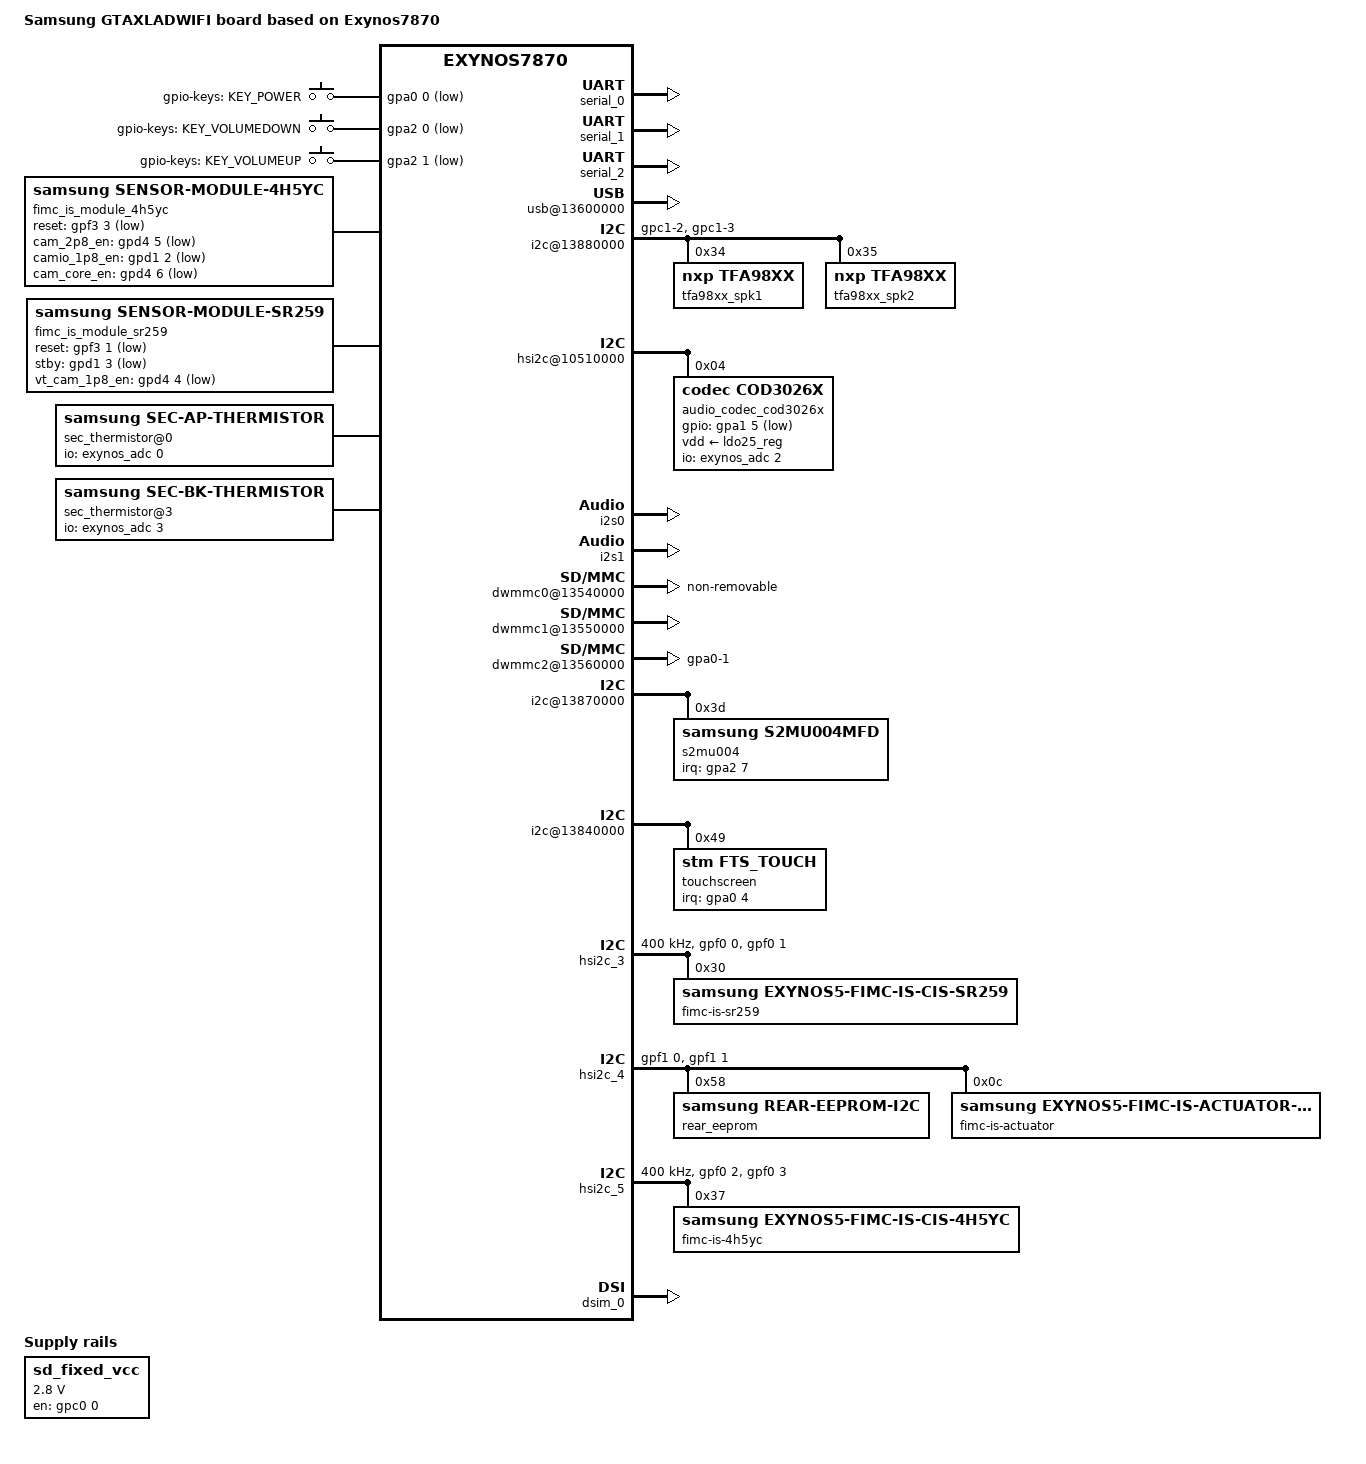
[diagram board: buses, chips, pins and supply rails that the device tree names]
/*
 * SAMSUNG UNIVERSAL8890 board device tree source
 *
 * Copyright (c) 2013 Samsung Electronics Co., Ltd.
 *		http://www.samsung.com
 *
 * This program is free software; you can redistribute it and/or modify
 * it under the terms of the GNU General Public License version 2 as
 * published by the Free Software Foundation.
 */

#include "exynos7870-rmem-3000MB.dtsi"
#include "exynos7870.dtsi"

/ {
	model = "Samsung GTAXLADWIFI board based on Exynos7870";
	compatible = "samsung,exynos7870", "samsung,universal7870";

	ect {
		parameter_address = <0x90000000>;
		parameter_size = <0x14000>;	/* u-boot always overwrites this value. */
	};

	memory@40000000 {
		device_type = "memory";
		reg = <0x0 0x40000000 0x3E400000>;
	};

	memory@80000000 {
		device_type = "memory";
		reg = <0x0 0x80000000 0x80000000>;
	};

	memory@100000000 {
		device_type = "memory";
		reg = <0x00000001 0x00000000 0x0>;
	};

	chosen {
		bootargs = "console=ram ess_setup=0x46000000 androidboot.hardware=samsungexynos7870 androidboot.selinux=disabled firmware_class.path=/vendor/firmware androidboot.debug_level=0x4948 reserve-fimc=0";
		linux,initrd-start = <0x42000000>;
		linux,initrd-end = <0x420FFFFF>;
	};

	fixed-rate-clocks {
		oscclk {
			compatible = "samsung,exynos7870-oscclk";
			clock-frequency = <26000000>;
		};
	};

	reserved-memory {
		#address-cells = <2>;
		#size-cells = <1>;
		ranges;

		mfc_fw {
			compatible = "exynos5433-ion,mfc_fw";
			secure;
			reg = <0x0 0xAE800000 0x200000>;
			id = <8>;
		};

		mfc_nfw {
			compatible = "exynos5433-ion,mfc_nfw";
			reg = <0x0 0xAE600000 0x200000>;
			id = <12>;
		};
	};

	serial_0: uart@13810000 {
		status = "okay";
	};

	serial_1: uart@13800000 {
		status = "okay";
	};

	serial_2: uart@13820000 {
		samsung,uart-logging;
		status = "okay";
	};

	usb@13600000 {
		status = "okay";

		dwc3 {
			maximum-speed = "high-speed";
			dr_mode = "otg";
			is_not_vbus_pad;
		};
	};

	pinctrl_1: pinctrl@148C0000 {
		compatible = "samsung,exynos7870-pinctrl";
		reg = <0x0 0x148C0000 0x1000>;
		interrupts = <0 68 0>;
	};

	pinctrl@139B0000 {
		spk_amp_i2c: spk-amp-i2c{
			samsung,pins ="gpc1-2", "gpc1-3";
			samsung,pin-function = <2>;
			samsung,pin-pud = <0>;
			samsung,pin-drv = <0>;
		};
	};

	pinctrl@139F0000 {
		cod3026_irq: cod3026-irq {
			samsung,pins = "gpa1-5";
			samsung,pin-pud = <3>;
			samsung,pin-drv = <3>;
		};
	};

	i2c@13880000 {
		samsung,i2c-sda-delay = <100>;
		samsung,i2c-max-bus-freq = <400000>;
		#address-cells = <1>;
		#size-cells = <0>;
		status = "okay";

		pinctrl-names = "default";
		pinctrl-0 = <&spk_amp_i2c>;

		tfa98xx_spk1: tfa98xx@34{
		    compatible = "nxp,tfa98xx";
		    reg = <0x34>;
		};
		tfa98xx_spk2: tfa98xx@35{
		    compatible = "nxp,tfa98xx";
		    reg = <0x35>;
		};
	};

	but_zones: but_zones {
		#list-but-cells = <3>;
	};

	hsi2c@10510000 {
		audio_codec_cod3026x: cod3026x@04 {
			compatible = "codec,cod3026x";
			reg = <0x04>;
			ten-bit-address;
			vdd-supply = <&ldo25_reg>;
			pinctrl-names = "default";
			pinctrl-0 = <&cod3026_irq>;
			interrupt-parent = <&gpa1>;
			gpios = <&gpa1 5 0xf>;
			mic-bias1-voltage = <1>;
			mic-bias2-voltage = <1>;
			mic-bias-ldo-voltage = <3>;
			use-det-adc-mode;
			io-channels = <&exynos_adc 2>;
			io-channel-names = "adc-jack";
			#io-channel-cells = <1>;
			io-channel-ranges;
			but-zones-list = <&but_zones 226 0 370>, /* send/end */
					<&but_zones 582 371 443>, /* google */
					<&but_zones 115 444 623>, /* vol up */
					<&but_zones 114 624 1300>; /* vol down */
			mic-adc-range = <1400>;
		};
	};

	s1402x: s1402x@14880000 {
		pinctrl-names = "default", "idle", "bt", "bt-idle";
		pinctrl-0 = <&i2s_pmic_amp_bus
			&i2s_amp_bus>;
		pinctrl-1 = <&i2s_pmic_amp_bus_idle
			&i2s_bt_bus_idle>;
		pinctrl-2 = <&i2s_pmic_bus
			&i2s_bt_bus>;
		pinctrl-3 = <&i2s_bt_bus_idle>;

		status = "okay";
	};

	i2s0: i2s@148A0000 {
		status = "okay";
	};

	i2s1: i2s@148B0000 {
		status = "okay";
	};

	audio_cp_dummy: cp_dummy {
			compatible = "samsung,cp_dummy";
			status = "okay";
	};

	audio_fm_dummy: fm_dummy {
			compatible = "samsung,fm_dummy";
			status = "okay";
	};

	audio_bt_dummy: bt_dummy {
			compatible = "samsung,bt_dummy";
			status = "okay";
	};

	audio_codec_dummy: dummy-codec {
			compatible = "samsung,dummy-codec";
			status = "okay";
	};

	sound {
		compatible = "samsung,universal7870-cod3026x";
		samsung,audio-cpu = <&i2s0      /* primary */
			&i2s0                    /* secondary */
			&audio_cp_dummy
			&audio_bt_dummy
			&audio_fm_dummy
			&i2s1			/*AMP for AP */
			&audio_cp_dummy		/*AMP for CP */
			&eax
			&eax
			&eax
			&eax>;
		samsung,audio-codec = <&audio_codec_cod3026x
			&audio_codec_cod3026x
			&audio_codec_cod3026x
			&audio_codec_dummy
			&audio_codec_cod3026x
			&audio_codec_dummy
			&audio_codec_dummy
			&audio_codec_cod3026x
			&audio_codec_cod3026x
			&audio_codec_cod3026x
			&audio_codec_cod3026x>;
		samsung,audio-amp-num = <2>;
		samsung,audio-amp = <&tfa98xx_spk1 &tfa98xx_spk2
			&tfa98xx_spk1 &tfa98xx_spk2
			&tfa98xx_spk1 &tfa98xx_spk2
			&audio_codec_dummy &audio_codec_dummy
			&tfa98xx_spk1 &tfa98xx_spk2
			&tfa98xx_spk1 &tfa98xx_spk2
			&audio_codec_dummy &audio_codec_dummy
			&tfa98xx_spk1 &tfa98xx_spk2
			&tfa98xx_spk1 &tfa98xx_spk2
			&tfa98xx_spk1 &tfa98xx_spk2
			&tfa98xx_spk1 &tfa98xx_spk2>;
		samsung,audio-amp-dai-name = "tfa98xx-aif-5-34", "tfa98xx-aif-5-35",
			"tfa98xx-aif-5-34", "tfa98xx-aif-5-35",
			"tfa98xx-aif-5-34", "tfa98xx-aif-5-35",
			"dummy-aif2", "dummy-aif2",
			"tfa98xx-aif-5-34", "tfa98xx-aif-5-35",
			"tfa98xx-aif-5-34", "tfa98xx-aif-5-35",
			"dummy-aif2", "dummy-aif2",
			"tfa98xx-aif-5-34", "tfa98xx-aif-5-35",
			"tfa98xx-aif-5-34", "tfa98xx-aif-5-35",
			"tfa98xx-aif-5-34", "tfa98xx-aif-5-35",
			"tfa98xx-aif-5-34", "tfa98xx-aif-5-35";
		mic-bias-mode = <1 1 2 0>;
		samsung,auxdev = <&s1402x>;
		status = "okay";
	};

	gpio_keys {
		compatible = "gpio-keys";
		pinctrl-names = "default";
		pinctrl-0 = <&key_power &key_voldown &key_volup>;
		#address-cells = <1>;
		#size-cells = <0>;

		button@1 {
			label = "gpio-keys: KEY_POWER";
			interrupts = <0 0 0>;
			interrupt-parent = <&gpa0>;
			linux,code = <116>;
			gpios = <&gpa0 0 0xf>;
			gpio-key,wakeup = <1>;
		};
		button@2 {
			label = "gpio-keys: KEY_VOLUMEDOWN";
			interrupts = <1 0 0>;
			interrupt-parent = <&gpa2>;
			linux,code = <114>;
			gpios = <&gpa2 0 0xf>;
		};
		button@3 {
			label = "gpio-keys: KEY_VOLUMEUP";
			interrupts = <0 0 0>;
			interrupt-parent = <&gpa2>;
			linux,code = <115>;
			gpios = <&gpa2 1 0xf>;
		};
	};

	firmware {
		android {
			compatible = "android,firmware";
			fstab {
				compatible = "android,fstab";
				system {
					compatible = "android,system";
					dev = "/dev/block/platform/13540000.dwmmc0/by-name/SYSTEM";
					type = "ext4";
					mnt_flags = "ro";
					fsmgr_flags = "wait,verify";
				};
				vendor {
					compatible = "android,vendor";
					dev = "/dev/block/platform/13540000.dwmmc0/by-name/VENDOR";
					type = "ext4";
					mnt_flags = "ro";
					fsmgr_flags = "wait,verify";
				};
				odm {
					compatible = "android,odm";
					dev = "/dev/block/platform/13540000.dwmmc0/by-name/ODM";
					type = "ext4";
					mnt_flags = "ro";
					fsmgr_flags = "wait,verify";
				};
			};
		};
	};

	dwmmc0@13540000 {
		status = "okay";
		num-slots = <1>;
		broken-cd;
		use-smu;
		fixed_voltage;
		clock-gate;
		supports-highspeed;
		mmc-ddr-1_8v;
		mmc-hs200-1_8v;
		mmc-hs400-1_8v;
		mmc-shutdown-poweroff;
		pm-skip-mmc-resume-init;
		supports-8bit;
		supports-cmd23;
		supports-erase;
		enable-ulp-mode;
		supports-hs400-enhanced-strobe;
		use-fine-tuning;
		bypass-for-allpass;
		card-init-hwacg-ctrl;
		fifo-depth = <0x40>;
		non-removable;
		desc-size = <4>;
		card-detect-delay = <200>;
		data-timeout = <200>;
		clock-frequency = <800000000>;
		samsung,dw-mshc-ciu-div = <3>;
		samsung,dw-mshc-txdt-crc-timer-fastlimit = <0x34>;
		samsung,dw-mshc-txdt-crc-timer-initval = <0x38>;
		samsung,dw-mshc-ddr200-delay-line = <0x60>;
		samsung,dw-mshc-sdr-timing = <3 0 4 0>;
		samsung,dw-mshc-ddr-timing = <3 0 4 2>;
		samsung,dw-mshc-hs200-timing = <3 0 3 0>;
		samsung,dw-mshc-ddr200-timing = <1 0 4 0>;
		samsung,dw-mshc-ddr200-ulp-timing = <3 0 3 0>;

		num-ref-clks = <12>;
		ciu_clkin = <25 50 50 25 50 100 200 50 50 200 200 200>;

		/* Swapping clock drive strength */
		clk-drive-number = <6>;
		pinctrl-names = "default",
			"fast-slew-rate-1x",
			"fast-slew-rate-2x",
			"fast-slew-rate-3x",
			"fast-slew-rate-4x",
			"fast-slew-rate-5x",
			"fast-slew-rate-6x";
		pinctrl-0 = <&sd0_clk &sd0_cmd &sd0_rdqs &sd0_bus1 &sd0_bus4 &sd0_bus8>;
		pinctrl-1 = <&sd0_clk_fast_slew_rate_1x>;
		pinctrl-2 = <&sd0_clk_fast_slew_rate_2x>;
		pinctrl-3 = <&sd0_clk_fast_slew_rate_3x>;
		pinctrl-4 = <&sd0_clk_fast_slew_rate_4x>;
		pinctrl-5 = <&sd0_clk_fast_slew_rate_5x>;
		pinctrl-6 = <&sd0_clk_fast_slew_rate_6x>;
		slot@0 {
			reg = <0>;
			bus-width = <8>;
		};
	};

	dwmmc1@13550000 {
		status = "okay";
		num-slots = <1>;
		channel = <1>;
		fixed_voltage;
		clock-gate;
		enable-cclk-on-suspend;
		caps-control;
		supports-highspeed;
		supports-4bit;
		sd-uhs-sdr104;
		keep-power-in-suspend;
		pm-ignore-notify;
		card-detect-type-external;
		use-broken-voltage;
		use-fine-tuning;
		ignore-phase = <(1 << 7)>;
		fifo-depth = <0x40>;
		card-detect-delay = <200>;
		samsung,dw-mshc-ciu-div = <3>;
		samsung,dw-mshc-sdr-timing = <3 0 3 0>;
		samsung,dw-mshc-ddr-timing = <3 0 2 1>;
		samsung,dw-mshc-sdr50-timing = <3 0 4 2>;
		samsung,dw-mshc-sdr104-timing = <3 0 3 0>;
		clk_pin = "gpr2-0";
		clk_addr = "13750000.pinctrl";
		clk_val = <0x2>;
		clk_str_num = <4>;
		num-ref-clks = <9>;
		ciu_clkin = <25 50 50 25 50 100 200 50 50>;

		pinctrl-names = "default";
		pinctrl-0 = <&sd1_clk &sd1_cmd &sd1_bus1 &sd1_bus4>;
		slot@0 {
			reg = <0>;
			bus-width = <4>;
		};
	};

	dwmmc2@13560000 {
		status = "okay";
		num-slots = <1>;
		supports-highspeed;
		supports-4bit;
		supports-cmd23;
		supports-erase;
		sd-uhs-sdr50;
		sd-uhs-sdr104;
		card-detect-gpio;
		clock-gate;
		bypass-smu;
		bypass-for-allpass;
		use-fine-tuning;
		card-init-hwacg-ctrl;
		only_once_tune;
		skip-init-mmc-scan;
		samsung,voltage-int-extra = <0x7>;
		ignore-phase = <(1 << 7)>;
		fifo-depth = <0x40>;
		desc-size = <8>;
		card-detect-delay = <200>;
		data-timeout = <200>;
		hto-timeout = <550>;
		samsung,dw-mshc-ciu-div = <3>;
		clock-frequency = <800000000>;
		samsung,dw-mshc-sdr-timing = <3 0 3 0>;
		samsung,dw-mshc-ddr-timing = <3 0 2 1>;
		samsung,dw-mshc-sdr50-timing = <3 0 4 2>;
		samsung,dw-mshc-sdr104-timing = <3 0 3 0>;

		num-ref-clks = <9>;
		ciu_clkin = <25 50 50 25 50 100 200 50 50>;

		/* Swapping clock drive strength */
		clk-drive-number = <4>;
		pinctrl-names = "default",
			"fast-slew-rate-1x",
			"fast-slew-rate-2x",
			"fast-slew-rate-3x",
			"fast-slew-rate-4x";
		pinctrl-0 = <&sd2_clk &sd2_cmd &sd2_bus1 &sd2_bus4 &dwmmc2_cd_ext_irq>;
		pinctrl-1 = <&sd2_clk_fast_slew_rate_1x>;
		pinctrl-2 = <&sd2_clk_fast_slew_rate_2x>;
		pinctrl-3 = <&sd2_clk_fast_slew_rate_3x>;
		pinctrl-4 = <&sd2_clk_fast_slew_rate_4x>;

		card-detect = <&gpa0 1 0xf>;
		card-detect-gpio;
		sec-sd-slot-type = <1>; /* Normal SD slot */

		slot@0 {
			reg = <0>;
			bus-width = <4>;
			disable-wp;
		};
	};

	sd_fixed_vcc: fixedregulator@0 {
		compatible = "regulator-fixed";
		regulator-name = "vmmc";
		gpio = <&gpc0 0 1>;
		regulator-min-microvolt = <2800000>;
		regulator-max-microvolt = <2800000>;
		enable-active-high;
		regulator-initial-mode = <0>;
	};

	pinctrl@139F0000 {
		attn_input: attn-input {
			samsung,pins = "gpa0-4";
			samsung,pin-function = <0>;
			samsung,pin-pud = <0>;
			samsung,pin-drv = <0>;
		};
		attn_irq: attn-irq {
			samsung,pins = "gpa0-4";
			samsung,pin-function = <0xf>;
			samsung,pin-pud = <0>;
			samsung,pin-drv = <0>;
		};
	};

	i2c@13870000 {
		status = "okay";
		samsung,i2c-sda-delay = <100>;
		samsung,i2c-max-bus-freq = <400000>;

		s2mu004@3d {
			compatible = "samsung,s2mu004mfd";
			reg = <0x3d>;
			pinctrl-names = "default";
			pinctrl-0 = <&if_pmic_irq>;
			s2mu004,irq-gpio = <&gpa2 7 0>;
			s2mu004,wakeup;
		};
	};

	i2c@13840000 {
		status = "okay";
		samsung,i2c-sda-delay = <100>;
		samsung,i2c-max-bus-freq = <400000>;
		touchscreen@49 {
			status = "okay";
			compatible = "stm,fts_touch";
			reg = <0x49>;
			pinctrl-names = "on_state", "off_state";
			pinctrl-0 = <&attn_irq>;
			pinctrl-1 = <&attn_input>;
			stm,irq_gpio = <&gpa0 4 0>;
			stm,irq_type = <8200>;
			stm,max_coords = <1199 1919>;	/* x y */
			stm,regulator_dvdd = "tsp_io";
			stm,regulator_avdd = "tsp_avdd";
			stm,project_name = "GTADV2", "T583";
			stm,firmware_name = "tsp_stm/fts1ba90a_gtadv2.fw";
			stm,tclm_level = <2>;
			stm,afe_base = <0x030C>;
			stm,support_aot;
			stm,factory_item_version = <4>;
			stm,chip_on_board;
		};
	};

	pinctrl@139B0000 {
		/* I2C_SENSOR1 */
		i2c5_bus: i2c5-bus {
			samsung,pins = "gpc4-3", "gpc4-2";
			samsung,pin-function = <2>;
			samsung,pin-pud = <0>;
			samsung,pin-drv = <0>;
		};
	};

	pinctrl@139F0000 {
		key_power: key-power {
			samsung,pins = "gpa0-0";
			samsung,pin-function = <0xf>;
			samsung,pin-pud = <0>;
			samsung,pin-drv = <0>;
		};
		dwmmc2_cd_ext_irq: dwmmc2_cd_ext_irq {
			samsung,pins = "gpa0-1";
			samsung,pin-function = <0xf>;
			samsung,pin-pud = <0>;
			samsung,pin-drv = <0>;
		};
		grip_wifi_int: grip_wifi_int {
			samsung,pins = "gpa0-5";
			samsung,pin-function = <0xf>;
			samsung,pin-pud = <0>;
			samsung,pin-drv = <0>;
		};
		acc_int: acc_int {
			samsung,pins = "gpa0-7";
			samsung,pins-function = <0xf>;
			samsung,pin-pud = <0>;
			samsung,pin-drv = <0>;
		};
		key_voldown: key-voldown {
			samsung,pins = "gpa2-0";
			samsung,pin-function = <0xf>;
			samsung,pin-pud = <0>;
			samsung,pin-drv = <0>;
		};

		key_volup: key-volup {
			samsung,pins = "gpa2-1";
			samsung,pin-function = <0xf>;
			samsung,pin-pud = <0>;
			samsung,pin-drv = <0>;
		};

		pmic_irq: pmic-irq {
			samsung,pins = "gpa0-2";
			samsung,pin-pud = <3>;
			samsung,pin-drv = <3>;
		};

		if_irq: if-irq {
			samsung,pins = "gpa2-7";
			samsung,pin-pud = <3>;
			samsung,pin-drv = <3>;
		};

		cfg_wlanhostwake: cfg-wlanhostwake {
			samsung,pins = "gpa2-2";
			samsung,pin-function = <1>;
			samsung,pin-pud = <3>;
		};

	};


	pinctrl@139B0000 {
		/* Warm reset information from AP */
		pm_wrsti: pm-wrsti {
			samsung,pins = "gpd1-0";
			samsung,pin-con-pdn = <3>;
		};
	};


	ion {
		compatible = "samsung,exynos5430-ion";
	};

	tmuctrl_0: tmuctrl_CPUCL0@10130000 {
		compatible = "samsung,exynos7870-tmu";
		reg = <0x0 0x10130000 0x200>;
		interrupts = <0 435 0>;
		max_trigger_level = <8>;
		non_hw_trigger_levels = <7>;

		/* Throttling Level */
		trigger_levels_0 = <76>;
		trigger_levels_1 = <81>;
		trigger_levels_2 = <86>;
		trigger_levels_3 = <91>;
		trigger_levels_4 = <96>;
		trigger_levels_5 = <101>;
		trigger_levels_6 = <111>;
		trigger_levels_7 = <115>;

		trigger_enable_0 = <ENABLE>;
		trigger_enable_1 = <ENABLE>;
		trigger_enable_2 = <ENABLE>;
		trigger_enable_3 = <ENABLE>;
		trigger_enable_4 = <ENABLE>;
		trigger_enable_5 = <ENABLE>;
		trigger_enable_6 = <ENABLE>;
		trigger_enable_7 = <ENABLE>;

		trigger_type_0 = <THROTTLE_ACTIVE>;
		trigger_type_1 = <THROTTLE_ACTIVE>;
		trigger_type_2 = <THROTTLE_ACTIVE>;
		trigger_type_3 = <THROTTLE_ACTIVE>;
		trigger_type_4 = <THROTTLE_ACTIVE>;
		trigger_type_5 = <THROTTLE_ACTIVE>;
		trigger_type_6 = <THROTTLE_ACTIVE>;
		trigger_type_7 = <HW_TRIP>;

		freq_tab_count = <5>;

		freq_clip_max_0 = <1586000>;
		freq_clip_max_1 = <1248000>;
		freq_clip_max_2 = <1248000>;
		freq_clip_max_3 = <546000>;
		freq_clip_max_4 = <546000>;

		cooling_level_0 = <76>;
		cooling_level_1 = <81>;
		cooling_level_2 = <86>;
		cooling_level_3 = <91>;
		cooling_level_4 = <96>;
	};

	tmuctrl_1: tmuctrl_CPUCL1@10130000 {
		compatible = "samsung,exynos7870-tmu";
		reg = <0x0 0x10130000 0x200>;
		interrupts = <0 435 0>;
		max_trigger_level = <8>;
		non_hw_trigger_levels = <7>;

		/* Throttling Level */
		trigger_levels_0 = <76>;
		trigger_levels_1 = <81>;
		trigger_levels_2 = <86>;
		trigger_levels_3 = <91>;
		trigger_levels_4 = <96>;
		trigger_levels_5 = <101>;
		trigger_levels_6 = <111>;
		trigger_levels_7 = <115>;

		trigger_enable_0 = <ENABLE>;
		trigger_enable_1 = <ENABLE>;
		trigger_enable_2 = <ENABLE>;
		trigger_enable_3 = <ENABLE>;
		trigger_enable_4 = <ENABLE>;
		trigger_enable_5 = <ENABLE>;
		trigger_enable_6 = <ENABLE>;
		trigger_enable_7 = <ENABLE>;

		trigger_type_0 = <THROTTLE_ACTIVE>;
		trigger_type_1 = <THROTTLE_ACTIVE>;
		trigger_type_2 = <THROTTLE_ACTIVE>;
		trigger_type_3 = <THROTTLE_ACTIVE>;
		trigger_type_4 = <THROTTLE_ACTIVE>;
		trigger_type_5 = <THROTTLE_ACTIVE>;
		trigger_type_6 = <THROTTLE_ACTIVE>;
		trigger_type_7 = <HW_TRIP>;

		freq_tab_count = <5>;

		freq_clip_max_0 = <1586000>;
		freq_clip_max_1 = <1248000>;
		freq_clip_max_2 = <1248000>;
		freq_clip_max_3 = <546000>;
		freq_clip_max_4 = <546000>;

		cooling_level_0 = <76>;
		cooling_level_1 = <81>;
		cooling_level_2 = <86>;
		cooling_level_3 = <91>;
		cooling_level_4 = <96>;

		hotplug_enable = <1>;
		hotplug_in_threshold = <91>;
		hotplug_out_threshold = <96>;
	};

	tmuctrl_2: tmuctrl_G3D@10130000 {
		compatible = "samsung,exynos7870-tmu";
		reg = <0x0 0x10130000 0x200>;
		interrupts = <0 435 0>;
		max_trigger_level = <8>;
		non_hw_trigger_levels = <7>;

		/* Throttling Level */
		trigger_levels_0 = <76>;
		trigger_levels_1 = <81>;
		trigger_levels_2 = <86>;
		trigger_levels_3 = <91>;
		trigger_levels_4 = <96>;
		trigger_levels_5 = <101>;
		trigger_levels_6 = <111>;
		trigger_levels_7 = <115>;

		trigger_enable_0 = <ENABLE>;
		trigger_enable_1 = <ENABLE>;
		trigger_enable_2 = <ENABLE>;
		trigger_enable_3 = <ENABLE>;
		trigger_enable_4 = <ENABLE>;
		trigger_enable_5 = <ENABLE>;
		trigger_enable_6 = <ENABLE>;
		trigger_enable_7 = <ENABLE>;

		trigger_type_0 = <THROTTLE_ACTIVE>;
		trigger_type_1 = <THROTTLE_ACTIVE>;
		trigger_type_2 = <THROTTLE_ACTIVE>;
		trigger_type_3 = <THROTTLE_ACTIVE>;
		trigger_type_4 = <THROTTLE_ACTIVE>;
		trigger_type_5 = <THROTTLE_ACTIVE>;
		trigger_type_6 = <THROTTLE_ACTIVE>;
		trigger_type_7 = <HW_TRIP>;

		freq_tab_count = <6>;

		freq_clip_max_0 = <1246000>;
		freq_clip_max_1 = <1146000>;
		freq_clip_max_2 = <1001000>;
		freq_clip_max_3 = <728000>;
		freq_clip_max_4 = <343000>;
		freq_clip_max_5 = <343000>;

		cooling_level_0 = <76>;
		cooling_level_1 = <81>;
		cooling_level_2 = <86>;
		cooling_level_3 = <91>;
		cooling_level_4 = <96>;
		cooling_level_5 = <101>;

		/* gpu cooling related table */
		gpu_idx_num = <6>;
		/* flags, driver_data(index), frequency */
		gpu_cooling_table = < 0 0 1001000
				      0 1 845000
				      0 2 728000
				      0 3 545000
				      0 4 343000
				      0 5 TABLE_END>;
	};

	/* modem_interface */
	mif_pdata {
		reg = <0 0x10000 0x14>;
		pinctrl-names = "default";
		pinctrl-0 = <&ds_det>;

		/* To do: will be remove, for system revision */
		gpios = <&gpd2 4 0x0>,
		       <&gpd2 5 0x0>,
		       <&gpd3 0 0x0>,
		       <&gpd3 1 0x0>;

		mif,gpio_ds_det = <&gpd1 2 0x0>;

		mif,ap_clk_table = <
			/* khz */
			1586000
			1482000
			1352000
			1248000
			1144000
			1014000
			902000
			839000
			757000
			676000
			546000
			449000
			345000
			>;

		mif,mif_clk_table = <
			/* khz */
			902000
			825000
			728000
			676000
			546000
			451000
			275000
			>;

		mif,int_clk_table = <
			/* khz */
			400000
			334000
			200000
			134000
			>;
	};

	fimc_is@14400000 {
		vender {
			rear_sensor_id = <24>; /* SENSOR_NAME_S5K4H5YC */
			front_sensor_id = <206>; /* SENSOR_NAME_SR259 */
			use_module_check;

			total_camera_num = <2>;
			camera_info0 {				// 0 : rear
				isp = <0>;				/* 0 : INT , 1 : EXT , 2 : SOC */
				cal_memory = <2>;		/* 0 : N , 1 : FROM , 2 : EEPROM , 3 : OTP  */
				read_version = <0>;		/* 0 : SYSFS , 1 : CAMON */

				core_voltage = <0>;		/* 0 : N , 1 : Y  */
				upgrade = <0>;			/* 0 : N , 1 : SYSFS , 2 : CAMON */
				companion = <0>;		/* 0 : N , 1 : Y  */
				ois = <0>;				/* 0 : N , 1 : Y  */
			};
			camera_info1 {				// 1 : front
				isp = <0>;				/* 0 : INT , 1 : EXT , 2 : SOC */
				cal_memory = <0>;		/* 0 : N , 1 : FROM , 2 : EEPROM , 3 : OTP  */
				read_version = <0>;		/* 0 : SYSFS , 1 : CAMON */

				core_voltage = <0>;		/* 0 : N , 1 : Y  */
				upgrade = <0>;			/* 0 : N , 1 : SYSFS , 2 : CAMON */
				companion = <0>;		/* 0 : N , 1 : Y  */
				ois = <0>;				/* 0 : N , 1 : Y  */
			};
		};

		fimc_is_dvfs {
			#define DVFS_INT_L0 400000
			#define DVFS_INT_L1 334000
			#define DVFS_INT_L2 200000
			#define DVFS_INT_L3 134000

			#define DVFS_CAM_L0 533000
			#define DVFS_CAM_L1 334000
			#define DVFS_CAM_L2 167000

			#define DVFS_MIF_L0 902000
			#define DVFS_MIF_L1 836000
			#define DVFS_MIF_L2 728000
			#define DVFS_MIF_L3 676000
			#define DVFS_MIF_L4 546000
			#define DVFS_MIF_L5 451000
			#define DVFS_MIF_L6 275000

			table0 {
				desc = "default Max version";

				default_int = <DVFS_INT_L3>;
				default_cam = <DVFS_CAM_L0>;
				default_mif = <DVFS_MIF_L0>;
				default_i2c = <0>;

				front_preview_int = <0>;
				front_preview_cam = <DVFS_CAM_L2>;
				front_preview_mif = <DVFS_MIF_L3>;
				front_preview_i2c = <0>;

				front_capture_int = <0>;
				front_capture_cam = <DVFS_CAM_L2>;
				front_capture_mif = <DVFS_MIF_L0>;
				front_capture_i2c = <0>;

				front_video_int = <0>;
				front_video_cam = <DVFS_CAM_L2>;
				front_video_mif = <DVFS_MIF_L3>;
				front_video_i2c = <0>;

				front_video_whd_int = <0>;
				front_video_whd_cam = <DVFS_CAM_L2>;
				front_video_whd_mif = <DVFS_MIF_L3>;
				front_video_whd_i2c = <0>;

				front_video_capture_int = <0>;
				front_video_capture_cam = <DVFS_CAM_L2>;
				front_video_capture_mif = <DVFS_MIF_L0>;
				front_video_capture_i2c = <0>;

				front_video_whd_capture_int = <0>;
				front_video_whd_capture_cam = <DVFS_CAM_L2>;
				front_video_whd_capture_mif = <DVFS_MIF_L0>;
				front_video_whd_capture_i2c = <0>;

				front_vt1_int = <0>;
				front_vt1_cam = <DVFS_CAM_L2>;
				front_vt1_mif = <DVFS_MIF_L3>;
				front_vt1_i2c = <0>;

				front_vt2_int = <0>;
				front_vt2_cam = <DVFS_CAM_L2>;
				front_vt2_mif = <DVFS_MIF_L3>;
				front_vt2_i2c = <0>;

				front_companion_preview_int = <0>;
				front_companion_preview_cam = <DVFS_CAM_L2>;
				front_companion_preview_mif = <DVFS_MIF_L3>;
				front_companion_preview_i2c = <0>;

				front_companion_capture_int = <0>;
				front_companion_capture_cam = <DVFS_CAM_L2>;
				front_companion_capture_mif = <DVFS_MIF_L0>;
				front_companion_capture_i2c = <0>;

				front_companion_video_int = <0>;
				front_companion_video_cam = <DVFS_CAM_L2>;
				front_companion_video_mif = <DVFS_MIF_L3>;
				front_companion_video_i2c = <0>;

				front_companion_video_whd_int = <0>;
				front_companion_video_whd_cam = <DVFS_CAM_L2>;
				front_companion_video_whd_mif = <DVFS_MIF_L3>;
				front_companion_video_whd_i2c = <0>;

				front_companion_video_capture_int = <0>;
				front_companion_video_capture_cam = <DVFS_CAM_L2>;
				front_companion_video_capture_mif = <DVFS_MIF_L0>;
				front_companion_video_capture_i2c = <0>;

				front_companion_video_whd_capture_int = <0>;
				front_companion_video_whd_capture_cam = <DVFS_CAM_L2>;
				front_companion_video_whd_capture_mif = <DVFS_MIF_L0>;
				front_companion_video_whd_capture_i2c = <0>;

				rear_preview_fhd_int = <DVFS_INT_L3>;
				rear_preview_fhd_cam = <DVFS_CAM_L1>;
				rear_preview_fhd_mif = <DVFS_MIF_L2>;
				rear_preview_fhd_i2c = <0>;

				rear_preview_whd_int = <DVFS_INT_L3>;
				rear_preview_whd_cam = <DVFS_CAM_L1>;
				rear_preview_whd_mif = <DVFS_MIF_L2>;
				rear_preview_whd_i2c = <0>;

				rear_preview_uhd_int = <DVFS_INT_L3>;
				rear_preview_uhd_cam = <DVFS_CAM_L1>;
				rear_preview_uhd_mif = <DVFS_MIF_L2>;
				rear_preview_uhd_i2c = <0>;

				rear_capture_int = <DVFS_INT_L3>;
				rear_capture_cam = <DVFS_CAM_L1>;
				rear_capture_mif = <DVFS_MIF_L0>;
				rear_capture_i2c = <0>;

				rear_video_fhd_int = <DVFS_INT_L3>;
				rear_video_fhd_cam = <DVFS_CAM_L1>;
				rear_video_fhd_mif = <DVFS_MIF_L2>;
				rear_video_fhd_i2c = <0>;

				rear_video_whd_int = <DVFS_INT_L3>;
				rear_video_whd_cam = <DVFS_CAM_L1>;
				rear_video_whd_mif = <DVFS_MIF_L2>;
				rear_video_whd_i2c = <0>;

				rear_video_uhd_int = <DVFS_INT_L3>;
				rear_video_uhd_cam = <DVFS_CAM_L1>;
				rear_video_uhd_mif = <DVFS_MIF_L2>;
				rear_video_uhd_i2c = <0>;

				rear_video_fhd_capture_int = <DVFS_INT_L3>;
				rear_video_fhd_capture_cam = <DVFS_CAM_L1>;
				rear_video_fhd_capture_mif = <DVFS_MIF_L0>;
				rear_video_fhd_capture_i2c = <0>;

				rear_video_whd_capture_int = <DVFS_INT_L3>;
				rear_video_whd_capture_cam = <DVFS_CAM_L1>;
				rear_video_whd_capture_mif = <DVFS_MIF_L0>;
				rear_video_whd_capture_i2c = <0>;

				rear_video_uhd_capture_int = <DVFS_INT_L3>;
				rear_video_uhd_capture_cam = <DVFS_CAM_L1>;
				rear_video_uhd_capture_mif = <DVFS_MIF_L0>;
				rear_video_uhd_capture_i2c = <0>;

				dual_preview_int = <DVFS_INT_L3>;
				dual_preview_cam = <DVFS_CAM_L1>;
				dual_preview_mif = <DVFS_MIF_L0>;
				dual_preview_i2c = <0>;

				dual_capture_int = <DVFS_INT_L3>;
				dual_capture_cam = <DVFS_CAM_L1>;
				dual_capture_mif = <DVFS_MIF_L0>;
				dual_capture_i2c = <0>;

				dual_video_int = <DVFS_INT_L3>;
				dual_video_cam = <DVFS_CAM_L1>;
				dual_video_mif = <DVFS_MIF_L0>;
				dual_video_i2c = <0>;

				dual_video_capture_int = <DVFS_INT_L3>;
				dual_video_capture_cam = <DVFS_CAM_L1>;
				dual_video_capture_mif = <DVFS_MIF_L0>;
				dual_video_capture_i2c = <0>;

				preview_high_speed_fps_int = <DVFS_INT_L3>;
				preview_high_speed_fps_cam = <DVFS_CAM_L2>;
				preview_high_speed_fps_mif = <DVFS_MIF_L2>;
				preview_high_speed_fps_i2c = <0>;

				video_high_speed_60fps_int = <DVFS_INT_L3>;
				video_high_speed_60fps_cam = <DVFS_CAM_L1>;
				video_high_speed_60fps_mif = <DVFS_MIF_L2>;
				video_high_speed_60fps_i2c = <0>;

				video_high_speed_120fps_int = <DVFS_INT_L3>;
				video_high_speed_120fps_cam = <DVFS_CAM_L1>;
				video_high_speed_120fps_mif = <DVFS_MIF_L2>;
				video_high_speed_120fps_i2c = <0>;

				video_high_speed_240fps_int = <DVFS_INT_L3>;
				video_high_speed_240fps_cam = <DVFS_CAM_L0>;
				video_high_speed_240fps_mif = <DVFS_MIF_L0>;
				video_high_speed_240fps_i2c = <0>;

				max_int = <DVFS_INT_L3>;
				max_cam = <DVFS_CAM_L0>;
				max_mif = <DVFS_MIF_L0>;
				max_i2c = <0>;
			};

			table1 {
				desc = "HAL3 version";

				default_int = <DVFS_INT_L1>;
				default_cam = <DVFS_CAM_L0>;
				default_mif = <DVFS_MIF_L0>;
				default_i2c = <0>;

				front_preview_int = <0>;
				front_preview_cam = <DVFS_CAM_L2>;
				front_preview_mif = <DVFS_MIF_L3>;
				front_preview_i2c = <0>;

				front_capture_int = <0>;
				front_capture_cam = <DVFS_CAM_L2>;
				front_capture_mif = <DVFS_MIF_L0>;
				front_capture_i2c = <0>;

				front_video_int = <0>;
				front_video_cam = <DVFS_CAM_L2>;
				front_video_mif = <DVFS_MIF_L3>;
				front_video_i2c = <0>;

				front_video_whd_int = <0>;
				front_video_whd_cam = <DVFS_CAM_L2>;
				front_video_whd_mif = <DVFS_MIF_L3>;
				front_video_whd_i2c = <0>;

				front_video_capture_int = <0>;
				front_video_capture_cam = <DVFS_CAM_L2>;
				front_video_capture_mif = <DVFS_MIF_L0>;
				front_video_capture_i2c = <0>;

				front_video_whd_capture_int = <0>;
				front_video_whd_capture_cam = <DVFS_CAM_L2>;
				front_video_whd_capture_mif = <DVFS_MIF_L0>;
				front_video_whd_capture_i2c = <0>;

				front_vt1_int = <0>;
				front_vt1_cam = <DVFS_CAM_L2>;
				front_vt1_mif = <DVFS_MIF_L3>;
				front_vt1_i2c = <0>;

				front_vt2_int = <0>;
				front_vt2_cam = <DVFS_CAM_L2>;
				front_vt2_mif = <DVFS_MIF_L3>;
				front_vt2_i2c = <0>;

				front_companion_preview_int = <0>;
				front_companion_preview_cam = <DVFS_CAM_L2>;
				front_companion_preview_mif = <DVFS_MIF_L3>;
				front_companion_preview_i2c = <0>;

				front_companion_capture_int = <0>;
				front_companion_capture_cam = <DVFS_CAM_L2>;
				front_companion_capture_mif = <DVFS_MIF_L0>;
				front_companion_capture_i2c = <0>;

				front_companion_video_int = <0>;
				front_companion_video_cam = <DVFS_CAM_L2>;
				front_companion_video_mif = <DVFS_MIF_L3>;
				front_companion_video_i2c = <0>;

				front_companion_video_whd_int = <0>;
				front_companion_video_whd_cam = <DVFS_CAM_L2>;
				front_companion_video_whd_mif = <DVFS_MIF_L3>;
				front_companion_video_whd_i2c = <0>;

				front_companion_video_capture_int = <0>;
				front_companion_video_capture_cam = <DVFS_CAM_L2>;
				front_companion_video_capture_mif = <DVFS_MIF_L0>;
				front_companion_video_capture_i2c = <0>;

				front_companion_video_whd_capture_int = <0>;
				front_companion_video_whd_capture_cam = <DVFS_CAM_L2>;
				front_companion_video_whd_capture_mif = <DVFS_MIF_L0>;
				front_companion_video_whd_capture_i2c = <0>;

				rear_preview_fhd_int = <DVFS_INT_L1>;
				rear_preview_fhd_cam = <DVFS_CAM_L1>;
				rear_preview_fhd_mif = <DVFS_MIF_L2>;
				rear_preview_fhd_i2c = <0>;

				rear_preview_whd_int = <DVFS_INT_L1>;
				rear_preview_whd_cam = <DVFS_CAM_L1>;
				rear_preview_whd_mif = <DVFS_MIF_L2>;
				rear_preview_whd_i2c = <0>;

				rear_preview_uhd_int = <DVFS_INT_L1>;
				rear_preview_uhd_cam = <DVFS_CAM_L1>;
				rear_preview_uhd_mif = <DVFS_MIF_L2>;
				rear_preview_uhd_i2c = <0>;

				rear_capture_int = <DVFS_INT_L1>;
				rear_capture_cam = <DVFS_CAM_L1>;
				rear_capture_mif = <DVFS_MIF_L0>;
				rear_capture_i2c = <0>;

				rear_video_fhd_int = <DVFS_INT_L1>;
				rear_video_fhd_cam = <DVFS_CAM_L1>;
				rear_video_fhd_mif = <DVFS_MIF_L2>;
				rear_video_fhd_i2c = <0>;

				rear_video_whd_int = <DVFS_INT_L1>;
				rear_video_whd_cam = <DVFS_CAM_L1>;
				rear_video_whd_mif = <DVFS_MIF_L2>;
				rear_video_whd_i2c = <0>;

				rear_video_uhd_int = <DVFS_INT_L1>;
				rear_video_uhd_cam = <DVFS_CAM_L1>;
				rear_video_uhd_mif = <DVFS_MIF_L2>;
				rear_video_uhd_i2c = <0>;

				rear_video_fhd_capture_int = <DVFS_INT_L1>;
				rear_video_fhd_capture_cam = <DVFS_CAM_L1>;
				rear_video_fhd_capture_mif = <DVFS_MIF_L0>;
				rear_video_fhd_capture_i2c = <0>;

				rear_video_whd_capture_int = <DVFS_INT_L1>;
				rear_video_whd_capture_cam = <DVFS_CAM_L1>;
				rear_video_whd_capture_mif = <DVFS_MIF_L0>;
				rear_video_whd_capture_i2c = <0>;

				rear_video_uhd_capture_int = <DVFS_INT_L1>;
				rear_video_uhd_capture_cam = <DVFS_CAM_L1>;
				rear_video_uhd_capture_mif = <DVFS_MIF_L0>;
				rear_video_uhd_capture_i2c = <0>;

				dual_preview_int = <DVFS_INT_L1>;
				dual_preview_cam = <DVFS_CAM_L1>;
				dual_preview_mif = <DVFS_MIF_L0>;
				dual_preview_i2c = <0>;

				dual_capture_int = <DVFS_INT_L1>;
				dual_capture_cam = <DVFS_CAM_L1>;
				dual_capture_mif = <DVFS_MIF_L0>;
				dual_capture_i2c = <0>;

				dual_video_int = <DVFS_INT_L1>;
				dual_video_cam = <DVFS_CAM_L1>;
				dual_video_mif = <DVFS_MIF_L0>;
				dual_video_i2c = <0>;

				dual_video_capture_int = <DVFS_INT_L1>;
				dual_video_capture_cam = <DVFS_CAM_L1>;
				dual_video_capture_mif = <DVFS_MIF_L0>;
				dual_video_capture_i2c = <0>;

				preview_high_speed_fps_int = <DVFS_INT_L1>;
				preview_high_speed_fps_cam = <DVFS_CAM_L2>;
				preview_high_speed_fps_mif = <DVFS_MIF_L2>;
				preview_high_speed_fps_i2c = <0>;

				video_high_speed_60fps_int = <DVFS_INT_L1>;
				video_high_speed_60fps_cam = <DVFS_CAM_L1>;
				video_high_speed_60fps_mif = <DVFS_MIF_L2>;
				video_high_speed_60fps_i2c = <0>;

				video_high_speed_120fps_int = <DVFS_INT_L1>;
				video_high_speed_120fps_cam = <DVFS_CAM_L1>;
				video_high_speed_120fps_mif = <DVFS_MIF_L2>;
				video_high_speed_120fps_i2c = <0>;

				video_high_speed_240fps_int = <DVFS_INT_L1>;
				video_high_speed_240fps_cam = <DVFS_CAM_L0>;
				video_high_speed_240fps_mif = <DVFS_MIF_L0>;
				video_high_speed_240fps_i2c = <0>;

				max_int = <DVFS_INT_L1>;
				max_cam = <DVFS_CAM_L0>;
				max_mif = <DVFS_MIF_L0>;
				max_i2c = <0>;
			};
		};
	};

	pinctrl@139B0000 {
		fimc_is_mclk0_default: fimc_is_mclk0_default {
			samsung,pins = "gpe0-0";
			samsung,pin-function = <0>;
			samsung,pin-pud = <1>;
			samsung,pin-drv = <1>;
		};

		fimc_is_mclk0_in: fimc_is_mclk0_in {
			samsung,pins = "gpe0-0";
			samsung,pin-function = <0>;
			samsung,pin-pud = <1>;
			samsung,pin-drv = <1>;
		};

		fimc_is_mclk0_fn: fimc_is_mclk0_fn {
			samsung,pins = "gpe0-0";
			samsung,pin-function = <2>;
			samsung,pin-pud = <0>;
			samsung,pin-drv = <1>;
		};


		fimc_is_mclk1_default: fimc_is_mclk1_default {
			samsung,pins = "gpe0-1";
			samsung,pin-function = <0>;
			samsung,pin-pud = <1>;
			samsung,pin-drv = <1>;
		};

		fimc_is_mclk1_in: fimc_is_mclk1_in {
			samsung,pins = "gpe0-1";
			samsung,pin-function = <0>;
			samsung,pin-pud = <1>;
			samsung,pin-drv = <1>;
		};

		fimc_is_mclk1_fn: fimc_is_mclk1_fn {
			samsung,pins = "gpe0-1";
			samsung,pin-function = <2>;
			samsung,pin-pud = <0>;
			samsung,pin-drv = <1>;
		};
	};

	fimc_is_module_4h5yc: fimc-is_sensor_4h5yc@37 {
		compatible = "samsung,sensor-module-4h5yc";

		pinctrl-names = "default", "pin0", "pin1";
		pinctrl-0 = <&fimc_is_mclk0_default>; /*need to config for drv strength*/
		pinctrl-1 = <&fimc_is_mclk0_in>;
		pinctrl-2 = <&fimc_is_mclk0_fn>;

		position = <0>; /* Rear:0. Front:1 */
		id = <0>; /* sensor node id */
		mclk_ch = <0>;
		sensor_i2c_ch = <0>; /* I2C 0 */
		sensor_i2c_addr = <0x6E>;

		gpio_reset = <&gpf3 3 0x1>; /* sensor reset */
		gpio_cam_2p8_en = <&gpd4 5 0x1>; /* CAM_AVDD_EN */
		gpio_camio_1p8_en = <&gpd1 2 0x1>; /* VDD_8MCAM_IO_1P8 */
		gpio_cam_core_en = <&gpd4 6 0x1>; /* VDD_8MCAM_CORE_1P2 */
		status = "okay";

		af {
			product_name = <13>; /* ACTUATOR_NAME_DW9807 */
			i2c_addr = <0x18>;
			i2c_ch = <1>;
		};
	};

	fimc_is_module_sr259: fimc-is_sensor_sr259@30 {
		compatible = "samsung,sensor-module-sr259";

		pinctrl-names = "default", "pin0", "pin1";
		pinctrl-0 = <&fimc_is_mclk1_default>; /*need to config for drv strength*/
		pinctrl-1 = <&fimc_is_mclk1_in>;
		pinctrl-2 = <&fimc_is_mclk1_fn>;

		position = <1>; /* Rear:0. Front:1 */
		id = <1>; /* sensor node id */
		mclk_ch = <1>;
		sensor_i2c_ch = <1>;/* I2C 1 */
		sensor_i2c_addr = <0x60>;

		gpio_reset = <&gpf3 1 0x1>; /* sensor reset */
		gpio_stby = <&gpd1 3 0x1>; /* VTCAM_STBY  */
		gpio_vt_cam_1p8_en = <&gpd4 4 0x1>; /* VTCAM_1P8_EN */
		status = "okay";
	};

	hsi2c_3: hsi2c@138A0000 {
		gpios = <&gpf0 0 0 &gpf0 1 0>;
		status = "okay";
		clock-frequency = <400000>;
		samsung,reset-before-trans;

		pinctrl-names = "default";
		pinctrl-0 = <&hs_i2c3_bus>;

		fimc-is-sr259@30 {
			compatible = "samsung,exynos5-fimc-is-cis-sr259";
			reg = <0x30>;
			id = <1>; /* matching sensor id */
			fnum = <4>; /* F2_2 : fimc-is-param.h */
			setfile = "setB";
		};
	};

	hsi2c_4: hsi2c@138B0000 {
		gpios = <&gpf1 0 0 &gpf1 1 0>;
		status = "okay";
		samsung,i2c-sda-delay = <100>;
		samsung,i2c-max-bus-freq = <400000>;
		samsung,reset-before-trans;

		pinctrl-names = "default";
		pinctrl-0 = <&hs_i2c4_bus>;

		rear_eeprom@58 {
			compatible = "samsung,rear-eeprom-i2c";
			reg = <0x58>;
		};

		fimc-is-actuator@18 {
			compatible = "samsung,exynos5-fimc-is-actuator-dw9807";
			reg = <0x0C>;
			id = <0>; /* matching sensor id */
		};
	};

	hsi2c_5: hsi2c@138C0000 {
		gpios = <&gpf0 2 0 &gpf0 3 0>;
			status = "okay";
		clock-frequency = <400000>;
		samsung,reset-before-trans;

		pinctrl-names = "default";
		pinctrl-0 = <&hs_i2c5_bus>;

		fimc-is-4h5yc@37 {
			compatible = "samsung,exynos5-fimc-is-cis-4h5yc";
			reg = <0x37>;
			id = <0>; /* matching sensor id */
			setfile = "setB";
		};
	};

	#define SENSOR_SCENARIO_NORMAL		0
	#define SENSOR_SCENARIO_VISION		1
	#define SENSOR_SCENARIO_EXTERNAL	2
	#define SENSOR_SCENARIO_OIS_FACTORY	3
	#define SENSOR_SCENARIO_VIRTUAL		9
	#define FLITE_ID_NOTHING 100

	pinctrl@139B0000 {
		hrm_vdd_io_en: hrm_vdd_io_en {
			samsung,pins = "gpd4-3";
			samsung,pin-function = <1>;
			samsung,pin-pud = <1>;
			samsung,pin-val = <0>;
		};
		hrm_vdd_en: hrm_vdd_en {
			samsung,pins = "gpd2-3";
			samsung,pin-function = <1>;
			samsung,pin-pud = <1>;
			samsung,pin-val = <0>;
		};
	};

	fimc_is_sensor0: fimc_is_sensor@14420000 {
		scenario = <SENSOR_SCENARIO_EXTERNAL>;	/* 2. SENSOR_SCENARIO_EXTERNAL */
		id = <0>;
		mclk_ch = <0>;
		csi_ch = <0>;
		flite_ch = <0>;
		is_bns = <0>;
		status = "okay";
	};

	fimc_is_sensor1: fimc_is_sensor@14460000 {
		scenario = <SENSOR_SCENARIO_EXTERNAL>;	/* 2. SENSOR_SCENARIO_EXTERNAL */
		id = <1>;
		mclk_ch = <1>;
		csi_ch = <1>;
		flite_ch = <1>;
		is_bns = <0>;
		status = "okay";
	};

	decon_fb@14830000 {
		psr_mode = <0>; /* 0: video mode, 1: DP command mode, 2: MIPI command mode */
		trig_mode = <1>;	/* 0: hw trigger, 1: sw trigger */
		disp-pll-clk = <159000000>;
		disp-eclk = <200000000>;
		disp-vclk = <159000000>;
		disp-dvfs = <200000>;
		status = "okay";
		bootloader_fb = <0x67000000 0 0 1200 1920 0>;
	};

	dsim_0: dsim@14800000 {
		lcd_info = <&hx8279d>;
		decon_board = <&decon_board>;
		status = "okay";
	};

	decon_board: decon_board {
		gpio_buck_en = <&gpd3 4 0x1>;
		gpio_lcd_rst = <&gpd1 1 0x1>;

		dsim_set_panel_power_enable {
			type =
			"regulator,enable",	"LCD_1P8",
			"delay,usleep",	"10000 11000",
			"gpio,high",	"gpio_buck_en",
			"delay,usleep",	"15000 16000";
		};
		dsim_set_panel_power_disable {
			type =
			"gpio,low",	"gpio_lcd_rst",
			"gpio,low",	"gpio_buck_en",
			"delay,usleep",	"10000 11000",
			"regulator,disable",	"LCD_1P8";
		};
		dsim_reset_panel {
			type =
			"gpio,high",	"gpio_lcd_rst",
			"delay,usleep",	"10000 11000",
			"gpio,low",	"gpio_lcd_rst",
			"delay,usleep",	"10000 11000",
			"gpio,high",	"gpio_lcd_rst",
			"delay,usleep",	"10000 11000";
		};
	};

	hx8279d: hx8279d_wuxga {
		mode = <0>; /* 0: video mode, 1: DP command mode, 2: MIPI command mode */
		resolution = <1200 1920>;
		size = <135 216>;
		ddi_type = <0>;
		timing,refresh = <60>;
		timing,h-porch = <32 120 8>;
		timing,v-porch = <16 16 4>;
		timing,dsi-hs-clk = <980>;
		timing,pms = <3 226 1>;
		timing,dsi-escape-clk = <16>;
		clklane_onoff = <1>;
		duty_max = <199>;
		duty_outdoor = <255>;
	};

	pinctrl@139B0000 {
		ds_det: ds_det {
			samsung,pins = "gpd1-2";
			samsung,pin-function = <0>;	/* INPUT */
			samsung,pin-pud = <0>;
			samsung,pin-con-pdn = <3>;	/* PREV STATE */
			samsung,pin-pud-pdn = <0>;
		};
	};

	sec_thermistor@0 {
		compatible = "samsung,sec-ap-thermistor";
		status = "okay";

		adc_array = <223 237 250 263 276 289 303 316 329 342
			355 369 382 395 408 421 436 451 466 481
			496 516 537 558 579 599 616 633 650 667
			684 705 727 749 771 792 821 850 878 907
			935 977 1019 1061 1103 1145 1174 1203 1233 1262
			1291 1334 1376 1418 1460 1502 1549 1595 1641 1687
			1733 1765 1796 1827 1858 1889 1936 1983 2030 2076
			2123 2177 2231 2285 2339 2393 2435 2477 2520 2562
			2605 2646 2687 2728 2769 2811 2837 2864 2890 2917
			2943 2986 3028 3070 3113 3155 3186 3218 3249 3281
			3312 3338 3363 3389 3414 3440 3458 3476 3495 3513 3532>;
		temp_array = <900 890 880 870 860 850 840 830 820 810
			   800 790 780 770 760 750 740 730 720 710
			   700 690 680 670 660 650 640 630 620 610
			   600 590 580 570 560 550 540 530 520 510
			   500 490 480 470 460 450 440 430 420 410
			   400 390 380 370 360 350 340 330 320 310
			   300 290 280 270 260 250 240 230 220 210
			   200 190 180 170 160 150 140 130 120 110
			   100 90 80 70 60 50 40 30 20 10
			   0 (-10) (-20) (-30) (-40) (-50) (-60) (-70) (-80) (-90)
			   (-100) (-110) (-120) (-130) (-140) (-150) (-160) (-170) (-180) (-190) (-200)>;
		io-channels = <&exynos_adc 0>;
		io-channel-names = "adc-ap-temp";
		io-channel-ranges;
	};

	sec_thermistor@3 {
		compatible = "samsung,sec-bk-thermistor";
		status = "okay";

		adc_array = <266 280 294 309 323 337 352 366 380 395
			409 423 438 452 466 481 497 513 530 546
			562 585 607 630 652 675 690 706 721 737
			753 776 800 823 847 870 898 926 955 983
			1011 1048 1085 1122 1159 1196 1231 1265 1300 1334
			1369 1408 1448 1487 1527 1566 1612 1658 1703 1749
			1795 1830 1864 1899 1933 1968 2015 2062 2109 2157
			2204 2254 2305 2355 2406 2456 2500 2544 2588 2632
			2676 2718 2759 2801 2842 2884 2917 2950 2983 3016
			3049 3088 3128 3167 3206 3246 3275 3305 3334 3364
			3394 3418 3441 3465 3489 3513 3532 3552 3571 3590 3609>;
		temp_array = <900 890 880 870 860 850 840 830 820 810
			   800 790 780 770 760 750 740 730 720 710
			   700 690 680 670 660 650 640 630 620 610
			   600 590 580 570 560 550 540 530 520 510
			   500 490 480 470 460 450 440 430 420 410
			   400 390 380 370 360 350 340 330 320 310
			   300 290 280 270 260 250 240 230 220 210
			   200 190 180 170 160 150 140 130 120 110
			   100 90 80 70 60 50 40 30 20 10
			   0 (-10) (-20) (-30) (-40) (-50) (-60) (-70) (-80) (-90)
			   (-100) (-110) (-120) (-130) (-140) (-150) (-160) (-170) (-180) (-190) (-200)>;
		io-channels = <&exynos_adc 3>;
		io-channel-names = "adc-bk-temp";
		io-channel-ranges;
	};

	argos {
		compatible = "samsung,argos";
		#address-cells = <1>;

		boot_device@1 {
			net_boost,label="WIFI";
			net_boost,node="wlan0";
			net_boost,table_size = <2>;
			net_boost,table= <
				50 0 0 0 0 0 0 0 0
				150 0 0 0 0 0 0 0 0
				>;
		};
		boot_device@2 {
			net_boost,label="WIFI TX";
			net_boost,node="wlan0";
			net_boost,table_size = <2>;
			net_boost,table= <
				20 1000000 0 800000 0 0 200000 0 0
				60 1586000 0 1586000 0 0 200000 0 0
				>;
		};
		boot_device@3 {
			net_boost,label="WIFI RX";
			net_boost,node="wlan0";
			net_boost,table_size = <3>;
			net_boost,table= <
				100 1066000 0 1066000 0 0 0 0 0
				150 1378000 0 1378000 0 0 0 0 0
				200 1586000 0 1586000 0 845000 400000 0 0
				>;
		};
		boot_device@4 {
			net_boost,label="P2P";
			net_boost,node="p2p-wlan0-0";
			net_boost,table_size = <3>;
			net_boost,table= <
				30 1014000 0 1014000 0 0 0 0 0
				50 1248000 0 1248000 0 0 0 0 0
				90 1352000 0 1352000 0 0 0 0 0
				>;
		};
	};
};
